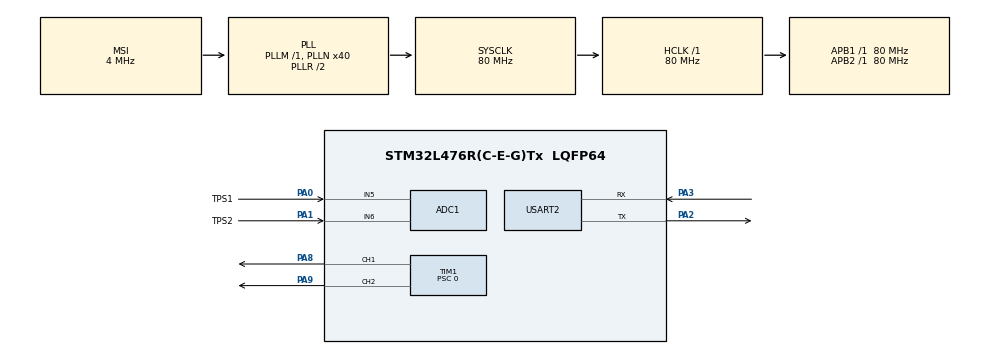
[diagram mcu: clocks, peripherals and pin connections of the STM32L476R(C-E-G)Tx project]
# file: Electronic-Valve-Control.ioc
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ADC1.Channel-1\#ChannelRegularConversion=ADC_CHANNEL_5
ADC1.Channel-2\#ChannelRegularConversion=ADC_CHANNEL_6
ADC1.ContinuousConvMode=ENABLE
ADC1.NbrOfConversion=2
ADC1.NbrOfConversionFlag=1
ADC1.OffsetNumber-1\#ChannelRegularConversion=ADC_OFFSET_NONE
ADC1.OffsetNumber-2\#ChannelRegularConversion=ADC_OFFSET_NONE
ADC1.Overrun=ADC_OVR_DATA_OVERWRITTEN
ADC1.Rank-1\#ChannelRegularConversion=1
ADC1.Rank-2\#ChannelRegularConversion=2
ADC1.SamplingTime-1\#ChannelRegularConversion=ADC_SAMPLETIME_24CYCLES_5
ADC1.SamplingTime-2\#ChannelRegularConversion=ADC_SAMPLETIME_24CYCLES_5
ADC1.master=1
Dma.ADC1.0.Direction=DMA_PERIPH_TO_MEMORY
Dma.ADC1.0.Instance=DMA1_Channel1
Dma.ADC1.0.MemDataAlignment=DMA_MDATAALIGN_HALFWORD
Dma.ADC1.0.MemInc=DMA_MINC_ENABLE
Dma.ADC1.0.Mode=DMA_CIRCULAR
Dma.ADC1.0.PeriphDataAlignment=DMA_PDATAALIGN_HALFWORD
Dma.ADC1.0.PeriphInc=DMA_PINC_DISABLE
Dma.ADC1.0.Priority=DMA_PRIORITY_LOW
Dma.Request0=ADC1
Mcu.Family=STM32L4
Mcu.Name=STM32L476R(C-E-G)Tx
Mcu.Package=LQFP64
NVIC.DMA1_Channel1_IRQn=true\:0\:0\:false\:false\:true\:false\:true\:true
NVIC.PriorityGroup=NVIC_PRIORITYGROUP_4
PA0.GPIO_Label=TPS1
PA0.Signal=ADCx_IN5
PA1.GPIO_Label=TPS2
PA1.Signal=ADCx_IN6
PA2.Mode=Asynchronous
PA2.Signal=USART2_TX
PA3.Mode=Asynchronous
PA3.Signal=USART2_RX
PA8.Signal=S_TIM1_CH1
PA9.Signal=S_TIM1_CH2
ProjectManager.HeapSize=0x200
ProjectManager.StackSize=0x400
ProjectManager.TargetToolchain=CMake
RCC.ADCFreq_Value=80000000
RCC.AHBFreq_Value=80000000
RCC.APB1Freq_Value=80000000
RCC.APB1TimFreq_Value=80000000
RCC.APB2Freq_Value=80000000
RCC.APB2TimFreq_Value=80000000
RCC.CortexFreq_Value=80000000
RCC.HCLKFreq_Value=80000000
RCC.HSE_VALUE=8000000
RCC.HSI_VALUE=16000000
RCC.LSE_VALUE=32768
RCC.MSI_VALUE=4000000
RCC.PLLN=40
RCC.PLLSAI1N=40
RCC.SYSCLKFreq_VALUE=80000000
RCC.SYSCLKSource=RCC_SYSCLKSOURCE_PLLCLK
RCC.USBFreq_Value=80000000
RCC.VCOOutputFreq_Value=160000000
SH.ADCx_IN5.0=ADC1_IN5,IN5-Single-Ended
SH.ADCx_IN6.0=ADC1_IN6,IN6-Single-Ended
SH.S_TIM1_CH1.0=TIM1_CH1,PWM Generation1 CH1
SH.S_TIM1_CH2.0=TIM1_CH2,PWM Generation2 CH2
TIM1.AutoReloadPreload=TIM_AUTORELOAD_PRELOAD_ENABLE
TIM1.Channel-PWM\ Generation1\ CH1=TIM_CHANNEL_1
TIM1.Channel-PWM\ Generation2\ CH2=TIM_CHANNEL_2
TIM1.Period=3999
TIM1.Prescaler=0
USART2.VirtualMode-Asynchronous=VM_ASYNC
VP_TIM1_VS_ClockSourceINT.Mode=Internal
board=custom

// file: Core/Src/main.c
/* USER CODE BEGIN Header */
/**
  ******************************************************************************
  * @file           : main.c
  * @brief          : Main program body
  ******************************************************************************
  * @attention
  *
  * Copyright (c) 2026 STMicroelectronics.
  * All rights reserved.
  *
  * This software is licensed under terms that can be found in the LICENSE file
  * in the root directory of this software component.
  * If no LICENSE file comes with this software, it is provided AS-IS.
  *
  ******************************************************************************
  */
/* USER CODE END Header */
#include "main.h"

/* USER CODE BEGIN Includes */
#include <string.h>
#include <stdio.h>
/* USER CODE END Includes */

ADC_HandleTypeDef hadc1;
DMA_HandleTypeDef hdma_adc1;

TIM_HandleTypeDef htim1;

UART_HandleTypeDef huart2;

void SystemClock_Config(void);
static void MX_GPIO_Init(void);
static void MX_DMA_Init(void);
static void MX_TIM1_Init(void);
static void MX_ADC1_Init(void);
static void MX_USART2_UART_Init(void);

/* USER CODE BEGIN 0 */
int __io_putchar(int ch) { //TODO to wyjebać i zostawić to wyżej, to jest tylko do printowania na terminalu
	HAL_UART_Transmit(&huart2, (uint8_t*)&ch, 1, HAL_MAX_DELAY);
	return 1;
}
/* USER CODE END 0 */

int main(void)
{

  /* USER CODE BEGIN 1 */
  #define TPS1_MIN_VALUE 542
  #define TPS1_MAX_VALUE 3307
  #define TPS2_MIN_VALUE 239
  #define TPS2_MAX_VALUE 3033

  uint16_t tps_values[2];
  float TPS1_value = 0.0f;
  float TPS2_value = 0.0f;
  /* USER CODE END 1 */

  /* MCU Configuration--------------------------------------------------------*/

  /* Reset of all peripherals, Initializes the Flash interface and the Systick. */
  HAL_Init();

  /* Configure the system clock */
  SystemClock_Config();

  /* Initialize all configured peripherals */
  MX_GPIO_Init();
  MX_DMA_Init();
  MX_TIM1_Init();
  MX_ADC1_Init();
  MX_USART2_UART_Init();
  /* USER CODE BEGIN 2 */
  HAL_TIM_PWM_Start(&htim1, TIM_CHANNEL_1);
  HAL_TIM_PWM_Start(&htim1, TIM_CHANNEL_2);

  HAL_ADCEx_Calibration_Start(&hadc1, ADC_SINGLE_ENDED);

  /* USER CODE END 2 */

  /* Infinite loop */
  /* USER CODE BEGIN WHILE */
  while (1)
  {
    // __HAL_TIM_SET_COMPARE(&htim1, TIM_CHANNEL_1, 2500);

    // __HAL_TIM_SET_COMPARE(&htim1, TIM_CHANNEL_1, 0);
    // HAL_Delay(1000);

    // HAL_ADC_Start_DMA(&hadc1, (uint32_t*)tps_values, 2);

    // TPS1_value = ((float)(tps_values[0] - TPS1_MIN_VALUE) / (TPS1_MAX_VALUE - TPS1_MIN_VALUE)) * 100.0f;
    // TPS2_value = 100.0f - (((float)(tps_values[1] - TPS2_MIN_VALUE) / (TPS2_MAX_VALUE - TPS2_MIN_VALUE)) * 100.0f);

    // if (TPS1_value > 100.0f) TPS1_value = 100.0f;
    // if (TPS1_value < 0.0f) TPS1_value = 0.0f;

    // if (TPS2_value > 100.0f) TPS2_value = 100.0f;
    // if (TPS2_value < 0.0f) TPS2_value = 0.0f;

    // printf("TPS1: %.2f, TPS2: %.2f\n", TPS1_value, TPS2_value);

    for (int i = 0; i < 3999; i = i+40)
    {
      __HAL_TIM_SET_COMPARE(&htim1, TIM_CHANNEL_1, i);
      HAL_Delay(100);
      HAL_ADC_Start_DMA(&hadc1, (uint32_t*)tps_values, 2);

      TPS1_value = ((float)(tps_values[0] - TPS1_MIN_VALUE) / (TPS1_MAX_VALUE - TPS1_MIN_VALUE)) * 100.0f;
      TPS2_value = 100.0f - (((float)(tps_values[1] - TPS2_MIN_VALUE) / (TPS2_MAX_VALUE - TPS2_MIN_VALUE)) * 100.0f);

      if (TPS1_value > 100.0f) TPS1_value = 100.0f;
      if (TPS1_value < 0.0f) TPS1_value = 0.0f;

      if (TPS2_value > 100.0f) TPS2_value = 100.0f;
      if (TPS2_value < 0.0f) TPS2_value = 0.0f;

      printf("U: %d TPS1: %.2f, TPS2: %.2f\r\n", i, TPS1_value, TPS2_value);
    }

    /* USER CODE END WHILE */

  }
}

void SystemClock_Config(void)
{
  RCC_OscInitTypeDef RCC_OscInitStruct = {0};
  RCC_ClkInitTypeDef RCC_ClkInitStruct = {0};

  /** Configure the main internal regulator output voltage
  */
  if (HAL_PWREx_ControlVoltageScaling(PWR_REGULATOR_VOLTAGE_SCALE1) != HAL_OK)
  {
    Error_Handler();
  }

  /** Initializes the RCC Oscillators according to the specified parameters
  * in the RCC_OscInitTypeDef structure.
  */
  RCC_OscInitStruct.OscillatorType = RCC_OSCILLATORTYPE_MSI;
  RCC_OscInitStruct.MSIState = RCC_MSI_ON;
  RCC_OscInitStruct.MSICalibrationValue = 0;
  RCC_OscInitStruct.MSIClockRange = RCC_MSIRANGE_6;
  RCC_OscInitStruct.PLL.PLLState = RCC_PLL_ON;
  RCC_OscInitStruct.PLL.PLLSource = RCC_PLLSOURCE_MSI;
  RCC_OscInitStruct.PLL.PLLM = 1;
  RCC_OscInitStruct.PLL.PLLN = 40;
  RCC_OscInitStruct.PLL.PLLP = RCC_PLLP_DIV7;
  RCC_OscInitStruct.PLL.PLLQ = RCC_PLLQ_DIV2;
  RCC_OscInitStruct.PLL.PLLR = RCC_PLLR_DIV2;
  if (HAL_RCC_OscConfig(&RCC_OscInitStruct) != HAL_OK)
  {
    Error_Handler();
  }

  /** Initializes the CPU, AHB and APB buses clocks
  */
  RCC_ClkInitStruct.ClockType = RCC_CLOCKTYPE_HCLK|RCC_CLOCKTYPE_SYSCLK
                              |RCC_CLOCKTYPE_PCLK1|RCC_CLOCKTYPE_PCLK2;
  RCC_ClkInitStruct.SYSCLKSource = RCC_SYSCLKSOURCE_PLLCLK;
  RCC_ClkInitStruct.AHBCLKDivider = RCC_SYSCLK_DIV1;
  RCC_ClkInitStruct.APB1CLKDivider = RCC_HCLK_DIV1;
  RCC_ClkInitStruct.APB2CLKDivider = RCC_HCLK_DIV1;

  if (HAL_RCC_ClockConfig(&RCC_ClkInitStruct, FLASH_LATENCY_4) != HAL_OK)
  {
    Error_Handler();
  }
}

static void MX_ADC1_Init(void)
{

  ADC_MultiModeTypeDef multimode = {0};
  ADC_ChannelConfTypeDef sConfig = {0};

  /** Common config
  */
  hadc1.Instance = ADC1;
  hadc1.Init.ClockPrescaler = ADC_CLOCK_ASYNC_DIV1;
  hadc1.Init.Resolution = ADC_RESOLUTION_12B;
  hadc1.Init.DataAlign = ADC_DATAALIGN_RIGHT;
  hadc1.Init.ScanConvMode = ADC_SCAN_ENABLE;
  hadc1.Init.EOCSelection = ADC_EOC_SINGLE_CONV;
  hadc1.Init.LowPowerAutoWait = DISABLE;
  hadc1.Init.ContinuousConvMode = ENABLE;
  hadc1.Init.NbrOfConversion = 2;
  hadc1.Init.DiscontinuousConvMode = DISABLE;
  hadc1.Init.ExternalTrigConv = ADC_SOFTWARE_START;
  hadc1.Init.ExternalTrigConvEdge = ADC_EXTERNALTRIGCONVEDGE_NONE;
  hadc1.Init.DMAContinuousRequests = DISABLE;
  hadc1.Init.Overrun = ADC_OVR_DATA_OVERWRITTEN;
  hadc1.Init.OversamplingMode = DISABLE;
  if (HAL_ADC_Init(&hadc1) != HAL_OK)
  {
    Error_Handler();
  }

  /** Configure the ADC multi-mode
  */
  multimode.Mode = ADC_MODE_INDEPENDENT;
  if (HAL_ADCEx_MultiModeConfigChannel(&hadc1, &multimode) != HAL_OK)
  {
    Error_Handler();
  }

  /** Configure Regular Channel
  */
  sConfig.Channel = ADC_CHANNEL_5;
  sConfig.Rank = ADC_REGULAR_RANK_1;
  sConfig.SamplingTime = ADC_SAMPLETIME_24CYCLES_5;
  sConfig.SingleDiff = ADC_SINGLE_ENDED;
  sConfig.OffsetNumber = ADC_OFFSET_NONE;
  sConfig.Offset = 0;
  if (HAL_ADC_ConfigChannel(&hadc1, &sConfig) != HAL_OK)
  {
    Error_Handler();
  }

  /** Configure Regular Channel
  */
  sConfig.Channel = ADC_CHANNEL_6;
  sConfig.Rank = ADC_REGULAR_RANK_2;
  if (HAL_ADC_ConfigChannel(&hadc1, &sConfig) != HAL_OK)
  {
    Error_Handler();
  }

}

static void MX_TIM1_Init(void)
{

  TIM_ClockConfigTypeDef sClockSourceConfig = {0};
  TIM_MasterConfigTypeDef sMasterConfig = {0};
  TIM_OC_InitTypeDef sConfigOC = {0};
  TIM_BreakDeadTimeConfigTypeDef sBreakDeadTimeConfig = {0};

  htim1.Instance = TIM1;
  htim1.Init.Prescaler = 0;
  htim1.Init.CounterMode = TIM_COUNTERMODE_UP;
  htim1.Init.Period = 3999;
  htim1.Init.ClockDivision = TIM_CLOCKDIVISION_DIV1;
  htim1.Init.RepetitionCounter = 0;
  htim1.Init.AutoReloadPreload = TIM_AUTORELOAD_PRELOAD_ENABLE;
  if (HAL_TIM_Base_Init(&htim1) != HAL_OK)
  {
    Error_Handler();
  }
  sClockSourceConfig.ClockSource = TIM_CLOCKSOURCE_INTERNAL;
  if (HAL_TIM_ConfigClockSource(&htim1, &sClockSourceConfig) != HAL_OK)
  {
    Error_Handler();
  }
  if (HAL_TIM_PWM_Init(&htim1) != HAL_OK)
  {
    Error_Handler();
  }
  sMasterConfig.MasterOutputTrigger = TIM_TRGO_RESET;
  sMasterConfig.MasterOutputTrigger2 = TIM_TRGO2_RESET;
  sMasterConfig.MasterSlaveMode = TIM_MASTERSLAVEMODE_DISABLE;
  if (HAL_TIMEx_MasterConfigSynchronization(&htim1, &sMasterConfig) != HAL_OK)
  {
    Error_Handler();
  }
  sConfigOC.OCMode = TIM_OCMODE_PWM1;
  sConfigOC.Pulse = 0;
  sConfigOC.OCPolarity = TIM_OCPOLARITY_HIGH;
  sConfigOC.OCNPolarity = TIM_OCNPOLARITY_HIGH;
  sConfigOC.OCFastMode = TIM_OCFAST_DISABLE;
  sConfigOC.OCIdleState = TIM_OCIDLESTATE_RESET;
  sConfigOC.OCNIdleState = TIM_OCNIDLESTATE_RESET;
  if (HAL_TIM_PWM_ConfigChannel(&htim1, &sConfigOC, TIM_CHANNEL_1) != HAL_OK)
  {
    Error_Handler();
  }
  if (HAL_TIM_PWM_ConfigChannel(&htim1, &sConfigOC, TIM_CHANNEL_2) != HAL_OK)
  {
    Error_Handler();
  }
  sBreakDeadTimeConfig.OffStateRunMode = TIM_OSSR_DISABLE;
  sBreakDeadTimeConfig.OffStateIDLEMode = TIM_OSSI_DISABLE;
  sBreakDeadTimeConfig.LockLevel = TIM_LOCKLEVEL_OFF;
  sBreakDeadTimeConfig.DeadTime = 0;
  sBreakDeadTimeConfig.BreakState = TIM_BREAK_DISABLE;
  sBreakDeadTimeConfig.BreakPolarity = TIM_BREAKPOLARITY_HIGH;
  sBreakDeadTimeConfig.BreakFilter = 0;
  sBreakDeadTimeConfig.Break2State = TIM_BREAK2_DISABLE;
  sBreakDeadTimeConfig.Break2Polarity = TIM_BREAK2POLARITY_HIGH;
  sBreakDeadTimeConfig.Break2Filter = 0;
  sBreakDeadTimeConfig.AutomaticOutput = TIM_AUTOMATICOUTPUT_DISABLE;
  if (HAL_TIMEx_ConfigBreakDeadTime(&htim1, &sBreakDeadTimeConfig) != HAL_OK)
  {
    Error_Handler();
  }
  HAL_TIM_MspPostInit(&htim1);

}

static void MX_USART2_UART_Init(void)
{

  huart2.Instance = USART2;
  huart2.Init.BaudRate = 115200;
  huart2.Init.WordLength = UART_WORDLENGTH_8B;
  huart2.Init.StopBits = UART_STOPBITS_1;
  huart2.Init.Parity = UART_PARITY_NONE;
  huart2.Init.Mode = UART_MODE_TX_RX;
  huart2.Init.HwFlowCtl = UART_HWCONTROL_NONE;
  huart2.Init.OverSampling = UART_OVERSAMPLING_16;
  huart2.Init.OneBitSampling = UART_ONE_BIT_SAMPLE_DISABLE;
  huart2.AdvancedInit.AdvFeatureInit = UART_ADVFEATURE_NO_INIT;
  if (HAL_UART_Init(&huart2) != HAL_OK)
  {
    Error_Handler();
  }

}

static void MX_DMA_Init(void)
{

  /* DMA controller clock enable */
  __HAL_RCC_DMA1_CLK_ENABLE();

  /* DMA interrupt init */
  /* DMA1_Channel1_IRQn interrupt configuration */
  HAL_NVIC_SetPriority(DMA1_Channel1_IRQn, 0, 0);
  HAL_NVIC_EnableIRQ(DMA1_Channel1_IRQn);

}

static void MX_GPIO_Init(void)
{

  /* GPIO Ports Clock Enable */
  __HAL_RCC_GPIOA_CLK_ENABLE();

}

void Error_Handler(void)
{
  __disable_irq();
  while (1)
  {
  }
}
